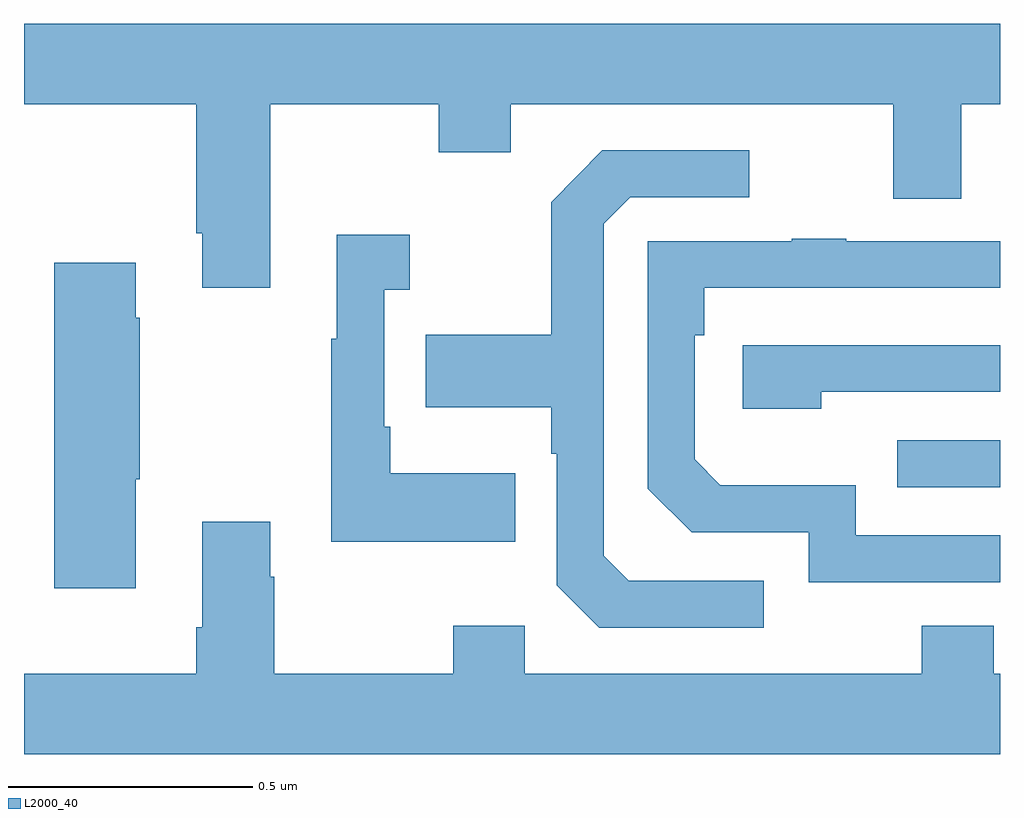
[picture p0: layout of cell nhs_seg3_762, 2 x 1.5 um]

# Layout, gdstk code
import gdstk
lib = gdstk.Library(unit=1e-6, precision=1e-09)
def R(c, l, rs):  # rectangles x0, y0, x1, y1
    for r in rs: c.add(gdstk.rectangle(r[:2], r[2:], *l))
def P(c, l, *ps):  # polygons
    for p in ps: c.add(gdstk.Polygon(p, *l))
L2000_40 = (2000, 40)

nhs_seg3_762 = lib.new_cell('nhs_seg3_762')
R(nhs_seg3_762, L2000_40, [(121.789,700.131,122,700.227)])
P(nhs_seg3_762, L2000_40, [(120.505,700.916),(120.85,700.916),(120.85,700.817),(120.997,700.817),(120.997,700.916),(121.781,700.916),(121.781,700.722),(121.921,700.722),(121.921,700.916),(122,700.916),(122,701.08),(120,701.08),(120,700.916),(120.353,700.916),(120.353,700.651),(120.365,700.651),(120.365,700.539),(120.505,700.539)],
  [(121.516,699.939),(121.239,699.939),(121.188,699.99),(121.188,700.671),(121.242,700.725),(121.486,700.725),(121.486,700.821),(121.185,700.821),(121.08,700.715),(121.08,700.443),(120.823,700.443),(120.823,700.295),(121.08,700.295),(121.08,700.199),(121.092,700.199),(121.092,699.93),(121.179,699.843),(121.516,699.843)],
  [(121.007,700.159),(120.751,700.159),(120.751,700.255),(120.738,700.255),(120.738,700.535),(120.79,700.535),(120.79,700.648),(120.641,700.648),(120.641,700.435),(120.63,700.435),(120.63,700.019),(121.007,700.019)],
  [(122,700.032),(121.704,700.032),(121.704,700.135),(121.427,700.135),(121.374,700.188),(121.374,700.442),(121.394,700.442),(121.394,700.539),(122,700.539),(122,700.635),(121.685,700.635),(121.685,700.64),(121.573,700.64),(121.573,700.635),(121.278,700.635),(121.278,700.128),(121.368,700.038),(121.608,700.038),(121.608,699.936),(122,699.936)],
  [(120.229,700.147),(120.237,700.147),(120.237,700.478),(120.229,700.478),(120.229,700.591),(120.062,700.591),(120.062,699.924),(120.229,699.924)],
  [(121.634,700.326),(122,700.326),(122,700.422),(121.473,700.422),(121.473,700.292),(121.634,700.292)],
  [(122,699.748),(121.987,699.748),(121.987,699.847),(121.84,699.847),(121.84,699.748),(121.026,699.748),(121.026,699.847),(120.88,699.847),(120.88,699.748),(120.513,699.748),(120.513,699.947),(120.505,699.947),(120.505,700.06),(120.365,700.06),(120.365,699.844),(120.353,699.844),(120.353,699.748),(120,699.748),(120,699.584),(122,699.584)])

lib.write_gds('nhs_seg3_762.gds')
